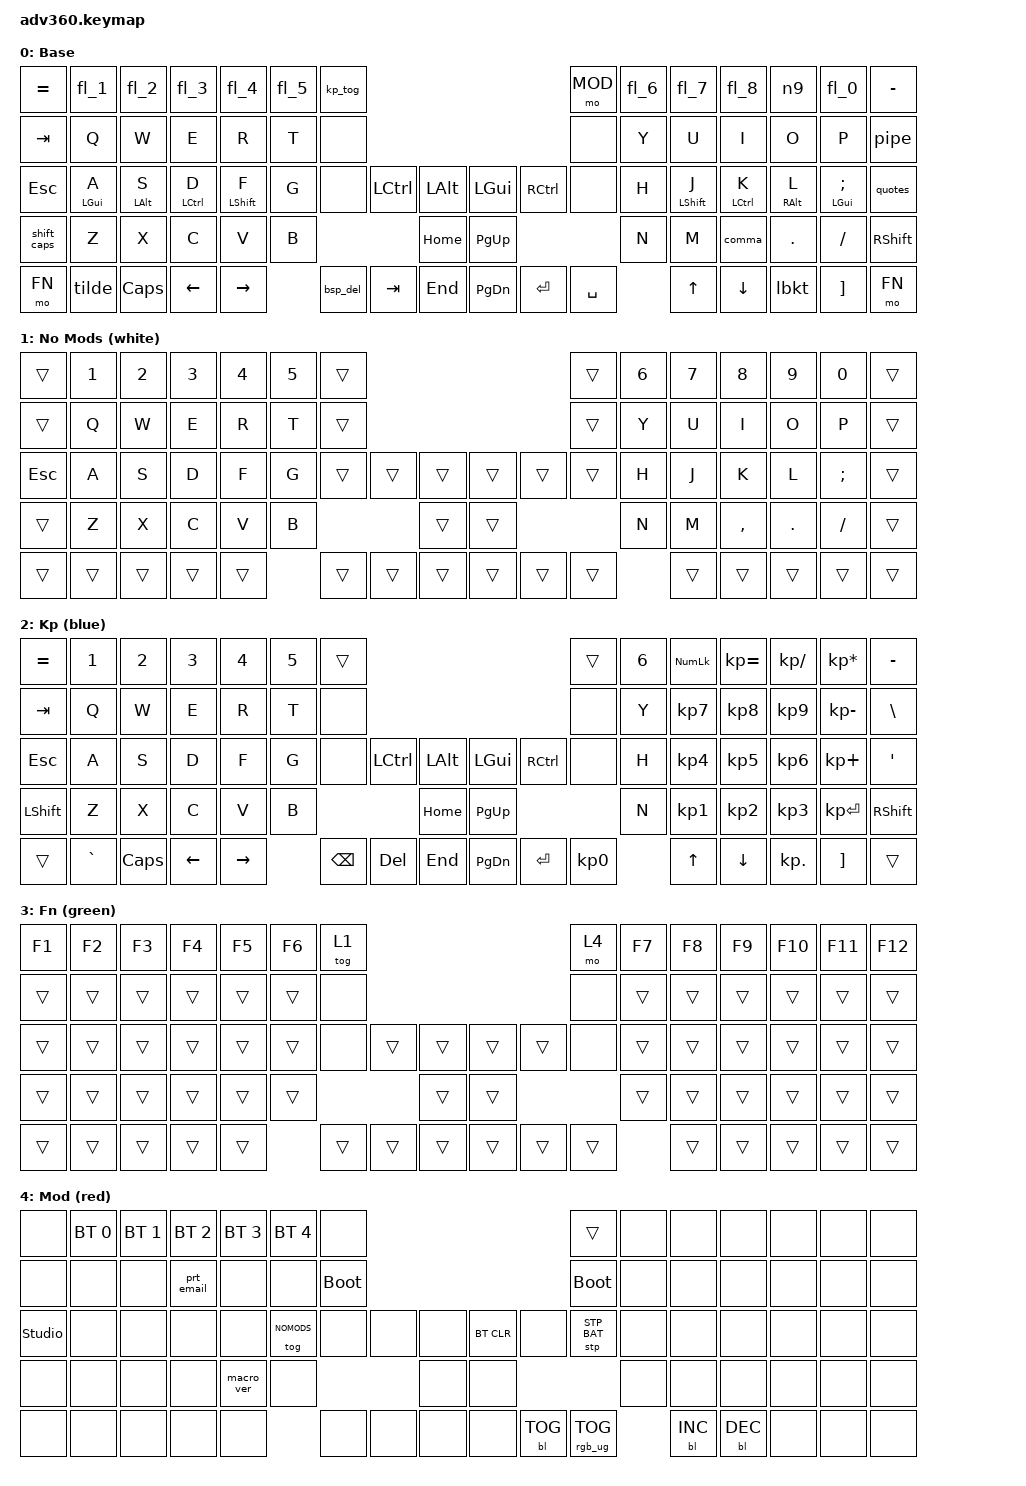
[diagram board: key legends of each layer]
#include <dt-bindings/zmk/stp.h>
#include <behaviors.dtsi>
#include <dt-bindings/zmk/backlight.h>
#include <dt-bindings/zmk/bt.h>
#include <dt-bindings/zmk/keys.h>
#include <dt-bindings/zmk/rgb.h>

// zmk-helpers

#include "zmk-helpers/helper.h"
#include "zmk-helpers/key-labels/adv360.h"

// custom

#include "mreil/basic.dtsi"
#include "mreil/homerow.dtsi"
#include "mreil/flipshift.dtsi"
#include "mreil/quotes.dtsi"
#include "mreil/textmacros.dtsi"

/ {
    layeralias {
        #define BASE 0

    };
    behaviors {
        #include "version.dtsi"
    };

    keymap {
        compatible = "zmk,keymap";

        default_layer {
            display-name = "Base";
            bindings = <
&kp EQUAL    &fl_1       &fl_2       &fl_3        &fl_4         &fl_5  &kp_tog                                                  &mo MOD    &fl_6  &fl_7         &fl_8        &n9        &fl_0              &kp MINUS
&kp TAB      &kp Q       &kp W       &kp E        &kp R         &kp T  &none                                                    &none      &kp Y  &kp U         &kp I        &kp O       &kp P              &pipe
&kp ESC      &hm LGUI A  &hm LALT S  &hm LCTRL D  &hml LSHFT F  &kp G  &none     &kp LCTRL  &kp LALT      &kp LGUI   &kp RCTRL  &none      &kp H  &hmr LSHFT J  &hm LCTRL K  &hm RALT L  &hm LEFT_GUI SEMI  &quotes
&shift_caps  &kp Z       &kp X       &kp C        &kp V         &kp B                       &kp HOME      &kp PG_UP                        &kp N  &kp M         &comma       &kp DOT     &kp FSLH           &kp RSHFT
&mo FN       &tilde      &kp CAPS    &kp LEFT     &kp RIGHT            &bsp_del  &kp TAB    &kp END       &kp PG_DN  &kp ENTER  &kp SPACE         &kp UP        &kp DOWN     &lbkt       &kp RBKT           &mo FN
            >;
        };

        no_mods {
            display-name = "No Mods (white)";
            bindings = <
&trans   &kp N1  &kp N2  &kp N3  &kp N4  &kp N5  &trans                                      &trans  &kp N6  &kp N7  &kp N8     &kp N9   &kp N0    &trans
&trans   &kp Q   &kp W   &kp E   &kp R   &kp T   &trans                                      &trans  &kp Y   &kp U   &kp I      &kp O    &kp P     &trans
&kp ESC  &kp A   &kp S   &kp D   &kp F   &kp G   &trans  &trans  &trans      &trans  &trans  &trans  &kp H   &kp J   &kp K      &kp L    &kp SEMI  &trans
&trans   &kp Z   &kp X   &kp C   &kp V   &kp B                   &trans      &trans                  &kp N   &kp M   &kp COMMA  &kp DOT  &kp FSLH  &trans
&trans   &trans  &trans  &trans  &trans          &trans  &trans  &trans      &trans  &trans  &trans          &trans  &trans     &trans   &trans    &trans
            >;
        };

        keypad {
            display-name = "Kp (blue)";
            bindings = <
&kp EQUAL  &kp N1     &kp N2    &kp N3    &kp N4     &kp N5  &trans                                                   &trans     &kp N6  &kp KP_NUM  &kp KP_EQUAL  &kp KP_DIVIDE  &kp KP_MULTIPLY  &kp MINUS
&kp TAB    &kp Q      &kp W     &kp E     &kp R      &kp T   &none                                                    &none      &kp Y   &kp KP_N7   &kp KP_N8     &kp KP_N9      &kp KP_MINUS     &kp BSLH
&kp ESC    &kp A      &kp S     &kp D     &kp F      &kp G   &none     &kp LCTRL  &kp LALT      &kp LGUI   &kp RCTRL  &none      &kp H   &kp KP_N4   &kp KP_N5     &kp KP_N6      &kp KP_PLUS      &kp SQT
&kp LSHFT  &kp Z      &kp X     &kp C     &kp V      &kp B                        &kp HOME      &kp PG_UP                        &kp N   &kp KP_N1   &kp KP_N2     &kp KP_N3      &kp KP_ENTER     &kp RSHFT
&trans     &kp GRAVE  &kp CAPS  &kp LEFT  &kp RIGHT          &kp BSPC  &kp DEL    &kp END       &kp PG_DN  &kp ENTER  &kp KP_N0          &kp UP      &kp DOWN      &kp KP_DOT     &kp RBKT         &trans
            >;
        };

        fn {
            display-name = "Fn (green)";
            bindings = <
&kp F1  &kp F2  &kp F3  &kp F4  &kp F5  &kp F6  &tog 1                                      &mo 4   &kp F7  &kp F8  &kp F9  &kp F10  &kp F11  &kp F12
&trans  &trans  &trans  &trans  &trans  &trans  &none                                       &none   &trans  &trans  &trans  &trans   &trans   &trans
&trans  &trans  &trans  &trans  &trans  &trans  &none   &trans  &trans      &trans  &trans  &none   &trans  &trans  &trans  &trans   &trans   &trans
&trans  &trans  &trans  &trans  &trans  &trans                  &trans      &trans                  &trans  &trans  &trans  &trans   &trans   &trans
&trans  &trans  &trans  &trans  &trans          &trans  &trans  &trans      &trans  &trans  &trans          &trans  &trans  &trans   &trans   &trans
            >;
        };

        mod {
            display-name = "Mod (red)";
            bindings = <
&none           &bt BT_SEL 0  &bt BT_SEL 1  &bt BT_SEL 2  &bt BT_SEL 3  &bt BT_SEL 4   &none                                                  &trans           &none  &none       &none       &none  &none  &none
&none           &none         &none         &prt_email    &none         &none          &bootloader                                            &bootloader      &none  &none       &none       &none  &none  &none
&studio_unlock  &none         &none         &none         &none         &tog NOMODS    &none        &none  &none      &bt BT_CLR  &none       &stp STP_BAT     &none  &none       &none       &none  &none  &none
&none           &none         &none         &none         &macro_ver    &none                              &none      &none                                    &none  &none       &none       &none  &none  &none
&none           &none         &none         &none         &none                        &none        &none  &none      &none       &bl BL_TOG  &rgb_ug RGB_TOG         &bl BL_INC  &bl BL_DEC  &none  &none  &none
            >;
        };

        extra3 {
            display-name = "Cyan";
            status = "reserved";
        };

        extra1 {
            display-name = "Red";
            status = "reserved";
        };

        extra2 {
            display-name = "Purple";
            status = "reserved";
        };

        extra4 {
            display-name = "Yellow";
            status = "reserved";
        };
    };
};
